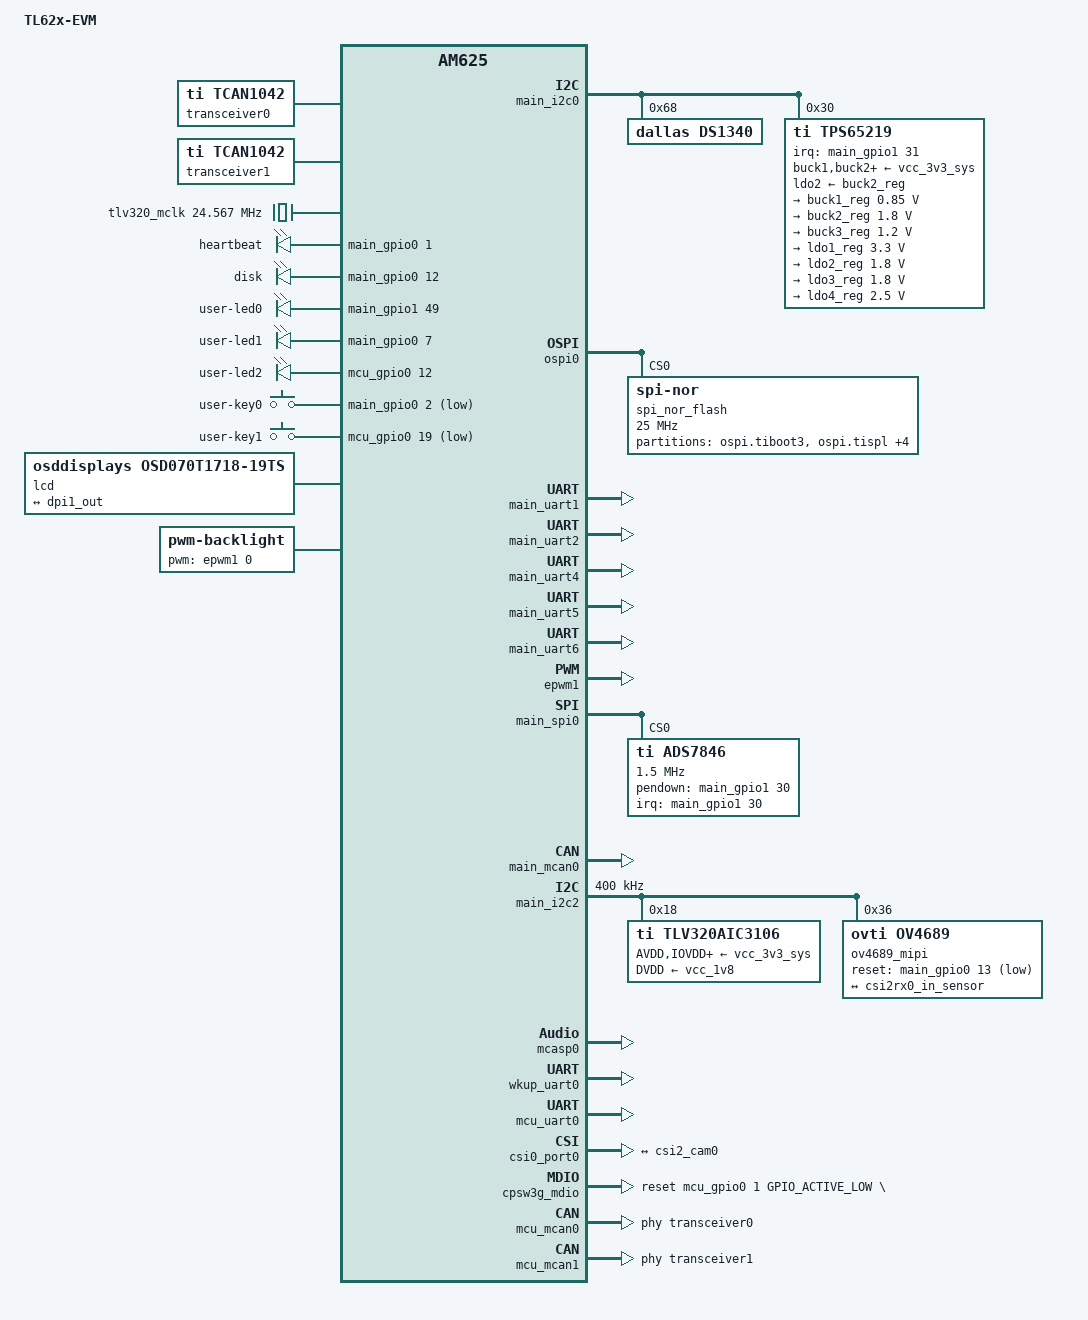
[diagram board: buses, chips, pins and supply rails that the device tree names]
// SPDX-License-Identifier: GPL-2.0
/*
 * AM625 SK: https://www.ti.com/lit/zip/sprr448
 *
 * Copyright (C) 2021-2022 Texas Instruments Incorporated - https://www.ti.com/
 */

/dts-v1/;

#include <dt-bindings/leds/common.h>
#include <dt-bindings/gpio/gpio.h>
#include <dt-bindings/input/input.h>
#include <dt-bindings/net/ti-dp83867.h>
#include "k3-am625.dtsi"
#include "k3-am62x-sk-common.dtsi"

/ {
	compatible =  "ti,am625-sk", "ti,am625";
	model = "TL62x-EVM";

	aliases {
		rtc0 = &ds1340;
		rtc1 = &wkup_rtc0;
		serial3 = &main_uart1;
		serial4 = &main_uart2;
		serial5 = &main_uart4;
		serial6 = &main_uart5;
		serial7 = &main_uart6;
		serial8 = &mcu_uart0;
		serial9 = &wkup_uart0;
	};

	transceiver0: can-phy0 {
		compatible = "ti,tcan1042";
		#phy-cells = <0>;
		max-bitrate = <5000000>;
	};

	transceiver1: can-phy1 {
		compatible = "ti,tcan1042";
		#phy-cells = <0>;
		max-bitrate = <5000000>;
	};

	opp-table {
		/* Add 1.4GHz OPP for am625-sk board. Requires VDD_CORE to be at 0.85V */
		opp-1400000000 {
			opp-hz = /bits/ 64 <1400000000>;
			opp-supported-hw = <0x01 0x0004>;
			clock-latency-ns = <6000000>;
		};
	};

	/delete-node/ tlv320_mclk;
	tlv320_mclk: clk-0 {
		#clock-cells = <0>;
		compatible = "fixed-clock";
		clock-frequency = <24567000>;
	};

	/delete-node/ leds;
        leds {
                compatible = "gpio-leds";
                pinctrl-names = "default";
                pinctrl-0 = <&main_leds_pins_default &mcu_leds_pins_default>;

                som_led0 {
                        label = "heartbeat";
                        gpios = <&main_gpio0 1 GPIO_ACTIVE_HIGH>;
                        linux,default-trigger = "heartbeat";
                        function = LED_FUNCTION_HEARTBEAT;
                        default-state = "off";
                };

                som_led1 {
                        label = "disk";
                        gpios = <&main_gpio0 12 GPIO_ACTIVE_HIGH>;
                        linux,default-trigger = "mmc0";
                        function = LED_FUNCTION_DISK;
                        default-state = "off";
                };

                user_led0 {
                        label = "user-led0";
                        gpios = <&main_gpio1 49 GPIO_ACTIVE_HIGH>;
                        linux,default-trigger = "default-on";
                        function = LED_FUNCTION_STATUS;
                        default-state = "off";
                };

                user_led1 {
                        label = "user-led1";
                        gpios = <&main_gpio0 7 GPIO_ACTIVE_HIGH>;
                        linux,default-trigger = "default-on";
                        function = LED_FUNCTION_STATUS;
                        default-state = "off";
                };

                user_led2 {
                        label = "user-led2";
                        gpios = <&mcu_gpio0 12 GPIO_ACTIVE_HIGH>;
                        linux,default-trigger = "default-on";
                        function = LED_FUNCTION_STATUS;
                        default-state = "off";
                };
        };

        gpio-keys {
                compatible = "gpio-keys";
                autorepeat;
                pinctrl-names = "default";
                pinctrl-0 = <&main_keys_pins_default &mcu_keys_pins_default>;

                user_key@0 {
                        label = "user-key0";
                        linux,code = <KEY_PROG1>;
                        gpios = <&main_gpio0 2 GPIO_ACTIVE_LOW>;
                        debounce-interval = <0>;
                };

                user_key@1 {
                        label = "user-key1";
                        linux,code = <KEY_PROG2>;
                        gpios = <&mcu_gpio0 19 GPIO_ACTIVE_LOW>;
                        debounce-interval = <0>;
                };
        };

        lcd0: display {
                compatible = "osddisplays,osd070t1718-19ts", "panel-dpi";

                label = "lcd";

                port {
                        lcd_in: endpoint {
                                remote-endpoint = <&dpi1_out>;
                        };
                };
        };

        backlight {
                compatible = "pwm-backlight";
                pinctrl-names = "default";
                pinctrl-0 = <&main_ehrpwm1_pins_default>;

                pwms = <&epwm1 0 50000 0>;

                brightness-levels = <0 10 50 100 150 200 220 240 255>;
                default-brightness-level = <8>;
        };

        codec_audio:sound-tlv320aic3106 {
                compatible = "simple-audio-card";
                simple-audio-card,name = "AM62x-SKEVM";
                simple-audio-card,widgets =
                        "Line", "Line In Jack",
                        "Line", "Line Out Jack";
                simple-audio-card,routing =
                        "LINE1L", "Line In Jack",
                        "LINE1R", "Line In Jack",
                        "Line Out Jack", "LLOUT",
                        "Line Out Jack", "RLOUT";
                simple-audio-card,format = "dsp_b";
                simple-audio-card,bitclock-master = <&sound_master>;
                simple-audio-card,frame-master = <&sound_master>;
                simple-audio-card,bitclock-inversion;

                simple-audio-card,cpu {
                        sound-dai = <&mcasp0>;
                };

                sound_master: simple-audio-card,codec {
                        sound-dai = <&tlv320aic3106>;
                        clocks = <&tlv320_mclk>;
                };
        };

        clk_ov4689_fixed: ov4689-xclk {
                compatible = "fixed-clock";
                #clock-cells = <0>;
                clock-frequency = <24000000>;
        };
};

&mcu_pmx0 {
	pinctrl-names = "default";
	pinctrl-0 = <&mcu_uart0_control_pins_default &mcu_fan_pins_default &mcu_phy_reset_pins_default>;

	mcu_leds_pins_default: mcu_leds_pins_default {
		pinctrl-single,pins = <
			AM62X_MCU_IOPAD(0x0030, PIN_OUTPUT, 7) /* (A4) WKUP_UART0_RTSn.MCU_GPIO0_12 */
		>;
	};

	mcu_keys_pins_default: mcu_keys_pins_default {
		pinctrl-single,pins = <
			AM62X_MCU_IOPAD(0x004c, PIN_INPUT, 7) /* (B9) WKUP_I2C0_SCL.MCU_GPIO0_19 */
		>;
	};

	mcu_uart0_pins_default: mcu_uart0_pins_default {
		pinctrl-single,pins = <
			AM62X_MCU_IOPAD(0x0014, PIN_INPUT, 0) /* (B5) MCU_UART0_RXD */
			AM62X_MCU_IOPAD(0x0018, PIN_OUTPUT, 0) /* (A5) MCU_UART0_TXD */
		>;
	};

	mcu_uart0_control_pins_default: mcu-uart0-control-pins-default {
		pinctrl-single,pins = <
			AM62X_MCU_IOPAD(0x020, PIN_OUTPUT, 7) /* (B6) MCU_UART0_RTSn.MCU_GPIO0_8 */
			AM62X_MCU_IOPAD(0x01c, PIN_OUTPUT, 7) /* (A6)MCU_UART0_CTSn.MCU_GPIO0_7 */
		>;
	};

	mcu_fan_pins_default: mcu_fan_pins_default {
		pinctrl-single,pins = <
			/* set the pull-up, the fan is turned on by default */
			AM62X_MCU_IOPAD(0x008, PIN_OUTPUT_PULLUP, 7) /* (A7) MCU_SPI0_CLK.MCU_GPIO0_2 (fan) */
		>;
	};

	mcu_phy_reset_pins_default: mcu_phy_reset_pins_default {
		pinctrl-single,pins = <
			AM62X_MCU_IOPAD(0x0004, PIN_INPUT_PULLUP, 7) /* (B8) MCU_SPI0_CS1.MCU_GPIO0_1 */
			AM62X_MCU_IOPAD(0x000c, PIN_INPUT_PULLUP, 7) /* (D9) MCU_SPI0_D0.MCU_GPIO0_3 */
		>;
	};
};

&main_pmx0 {
	pinctrl-names = "default";
	pinctrl-0 = <&main_watchdog_pins_default &main_4g_reset_pins_default &main_isolate_pins_default>;

	main_watchdog_pins_default: main_watchdog_pins_default {
		pinctrl-single,pins = <
			AM62X_IOPAD(0x00ac, PIN_OUTPUT, 7) /* (L21) GPMC0_CSn1.GPIO0_42 */
		>;
	};

	main_4g_reset_pins_default: main_4g_reset_pins_default {
		pinctrl-single,pins = <
			AM62X_IOPAD(0x0038, PIN_OUTPUT, 7) /* (E24) OSPI0_CSn3.GPIO0_14 */
		>;
	};

	main_isolate_pins_default: main_isolate_pins_default {
		pinctrl-single,pins = <
			AM62X_IOPAD(0x0090, PIN_INPUT, 7) /* (M24) GPMC0_BE0n_CLE.GPIO0_35 */
			AM62X_IOPAD(0x0094, PIN_INPUT, 7) /* (N20) GPMC0_BE1n.GPIO0_36 */
			AM62X_IOPAD(0x0098, PIN_INPUT, 7) /* (U23) GPMC0_WAIT0.GPIO0_37 */
			AM62X_IOPAD(0x00a4, PIN_INPUT, 7) /* (M22) GPMC0_DIR.GPIO0_40 */
			AM62X_IOPAD(0x00a0, PIN_OUTPUT, 7) /* (K25) GPMC0_WPn.GPIO0_39 */
			AM62X_IOPAD(0x0110, PIN_OUTPUT, 7) /* (C25) MMC2_DAT1.GPIO0_67 */
			AM62X_IOPAD(0x0114, PIN_OUTPUT, 7) /* (B24) MMC2_DAT0.GPIO0_68 */
			AM62X_IOPAD(0x01ac, PIN_OUTPUT, 7) /* (E19) MCASP0_AFSR.GPIO1_13 */
		>;
	};

        main_ov4689_reset_pins_default: main_ov4689_reset_pins_default {
                pinctrl-single,pins = <
                        AM62X_IOPAD(0x0034, PIN_OUTPUT_PULLUP, 7) /* (H21) OSPI0_CSn2.GPIO0_13 */
                >;
        };

	main_leds_pins_default: main_leds_pins_default {
		pinctrl-single,pins = <
			AM62X_IOPAD(0x0004, PIN_OUTPUT, 7) /* (G25) OSPI0_LBCLKO.GPIO0_1 */
			AM62X_IOPAD(0x001c, PIN_OUTPUT, 7) /* (J23) OSPI0_D4.GPIO0_7 */
			AM62X_IOPAD(0x0030, PIN_OUTPUT, 7) /* (G21) OSPI0_CSn1.GPIO0_12 */
			AM62X_IOPAD(0x0244, PIN_OUTPUT, 7) /* (C17) MMC1_SDWP.GPIO1_49 */
		>;
	};

	main_keys_pins_default: main_keys_pins_default {
		pinctrl-single,pins = <
			AM62X_IOPAD(0x0008, PIN_INPUT, 7) /* (J24) OSPI0_DQS.GPIO0_2 */
		>;
	};

        main_uart1_pins_default: main-uart1-pins-default {
                pinctrl-single,pins = <
                        AM62X_IOPAD(0x01e8, PIN_INPUT, 1) /* (B17) I2C1_SCL.UART1_RXD */
                        AM62X_IOPAD(0x01ec, PIN_OUTPUT, 1) /* (A17) I2C1_SDA.UART1_TXD */
                >;
        };

        main_uart2_pins_default: main-uart2-pins-default {
                pinctrl-single,pins = <
                        AM62X_IOPAD(0x01d0, PIN_INPUT, 3) /* (A15) UART0_CTSn.UART2_RXD */
                        AM62X_IOPAD(0x01d4, PIN_OUTPUT, 3) /* (B15) UART0_RTSn.UART2_TXD */
                >;
        };

        main_uart4_pins_default: main-uart4-pins-default {
                pinctrl-single,pins = <
                        AM62X_IOPAD(0x0124, PIN_INPUT, 3) /* (A23) MMC2_SDCD.UART4_RXD */
                        AM62X_IOPAD(0x0128, PIN_OUTPUT, 3) /* (B23) MMC2_SDWP.UART4_TXD */
                >;
        };

        main_uart5_pins_default: main-uart5-pins-default {
                pinctrl-single,pins = <
                        AM62X_IOPAD(0x0108, PIN_INPUT, 3) /* (D24) MMC2_DAT3.UART5_RXD */
                        AM62X_IOPAD(0x010c, PIN_OUTPUT, 3) /* (E23) MMC2_DAT2.UART5_TXD */
                >;
        };

        main_uart6_pins_default: main-uart6-pins-default {
                pinctrl-single,pins = <
                        AM62X_IOPAD(0x0118, PIN_INPUT, 3) /* (D25) MMC2_CLK.UART6_RXD */
                        AM62X_IOPAD(0x0120, PIN_OUTPUT, 3) /* (C24) MMC2_CMD.UART6_TXD */
                >;
        };

        main_ehrpwm1_pins_default: main_ehrpwm1_pins_default {
                pinctrl-single,pins = <
                        AM62X_IOPAD(0x019c, PIN_OUTPUT, 6) /* (B18) MCASP0_AXR1.EHRPWM1_A */
                >;
        };
        main_spi0_clk_data_pins_default: main_spi0_clk_data_pins_default {
                pinctrl-single,pins = <
                        AM62X_IOPAD(0x01bc, PIN_OUTPUT, 0) /* (A14) SPI0_CLK */
                        AM62X_IOPAD(0x01c0, PIN_INPUT, 0) /* (B13) SPI0_D0 */
                        AM62X_IOPAD(0x01c4, PIN_INPUT, 0) /* (B14) SPI0_D1 */
                >;
        };

        main_spi0_cs0_pins_default: main_spi0_cs0_pins_default {
                pinctrl-single,pins = <
                        AM62X_IOPAD(0x01b4, PIN_OUTPUT_PULLUP, 0) /* (A13) SPI0_CS0 */
                >;
        };

        main_ads7846_pins_default: main_ads7846_pins_default {
                pinctrl-single,pins = <
                        AM62X_IOPAD(0x01f0, PIN_INPUT_PULLUP, 7) /* (A18) EXT_REFCLK1.GPIO1_30 */
                >;
        };

	main_usb0_pins_default: main_usb0_pins_default {
		pinctrl-single,pins = <
			AM62X_IOPAD(0x0254, PIN_OUTPUT, 0) /* (C20) USB0_DRVVBUS */
		>;
	};

	main_mcan0_pins_default: main_mcan0_pins_default {
		pinctrl-single,pins = <
			AM62X_IOPAD(0x01dc, PIN_INPUT, 0) /* (E15) MCAN0_RX */
			AM62X_IOPAD(0x01d8, PIN_OUTPUT, 0) /* (C15) MCAN0_TX */
		>;
	};

        main_mcasp0_pins_default: main-mcasp0-pins-default {
                pinctrl-single,pins = <
                        AM62X_IOPAD(0x01B0, PIN_OUTPUT, 0) /* (A20) MCASP0_ACLKR.MCASP0_ACLKR */
                        AM62X_IOPAD(0x01A4, PIN_INPUT, 0) /* (B20) MCASP0_ACLKX.MCASP0_ACLKX */
                        AM62X_IOPAD(0x01A8, PIN_INPUT, 0) /* (D20) MCASP0_AFSX.MCASP0_AFSX */
                        AM62X_IOPAD(0x0198, PIN_OUTPUT, 0) /* (A19) MCASP0_AXR2.MCASP0_AXR2 */
                        AM62X_IOPAD(0x0194, PIN_INPUT, 0) /* (B19) MCASP0_AXR3.MCASP0_AXR3 */
                >;
        };

        main_pmic_intr_pins_default: main_pmic_intr_pins_default {
                pinctrl-single,pins = <
                        AM62X_IOPAD(0x01f4, PIN_INPUT_PULLUP, 7) /* (D16) EXTINTn.GPIO1_31 */
                >;
        };
};

&main_i2c0 {
	ds1340: rtc@68 {
		compatible = "dallas,ds1340";
		reg = <0x68>;
		trickle-resistor-ohms = <250>;
	};

        tps65219: pmic@30 {
                compatible = "ti,tps65219";
                reg = <0x30>;

                buck1-supply = <&vcc_3v3_sys>;
                buck2-supply = <&vcc_3v3_sys>;
                buck3-supply = <&vcc_3v3_sys>;
                ldo1-supply = <&vcc_3v3_sys>;
                ldo2-supply = <&buck2_reg>;
                ldo3-supply = <&vcc_3v3_sys>;
                ldo4-supply = <&vcc_3v3_sys>;

                pinctrl-0 = <&main_pmic_intr_pins_default>;

                interrupt-parent = <&main_gpio1>;
                interrupts = <31 0>;            /* gpio1_31 */
                interrupt-controller;
                #interrupt-cells = <1>;

                /* turn off the temperature warning function */
                sensor-warm-mask;

                regulators {
                        buck1_reg: buck1 {
                                regulator-name = "VDD_0V85_CORE";
                                regulator-min-microvolt = <850000>;
                                regulator-max-microvolt = <850000>;
                                regulator-boot-on;
                                regulator-always-on;
                        };

                        buck2_reg: buck2 {
                                regulator-name = "VDD_1V8_MAIN";
                                regulator-min-microvolt = <1800000>;
                                regulator-max-microvolt = <1800000>;
                                regulator-boot-on;
                                regulator-always-on;
                        };

                        buck3_reg: buck3 {
                                regulator-name = "VDD_1V2_MAIN";
                                regulator-min-microvolt = <1200000>;
                                regulator-max-microvolt = <1200000>;
                                regulator-boot-on;
                                regulator-always-on;
                        };

                        ldo1_reg: ldo1 {
                                regulator-name = "VDD_3V3_LDO1";
                                regulator-min-microvolt = <3300000>;
                                regulator-max-microvolt = <3300000>;
                        };

                        ldo2_reg: ldo2 {
                                regulator-name = "VDD_1V8_LDO2";
                                regulator-min-microvolt = <1800000>;
                                regulator-max-microvolt = <1800000>;
                                regulator-boot-on;
                                regulator-always-on;
                        };

                        ldo3_reg: ldo3 {
                                regulator-name = "VDD_1V8_LDO3";
                                regulator-min-microvolt = <1800000>;
                                regulator-max-microvolt = <1800000>;
                                regulator-boot-on;
                                regulator-always-on;
                        };

                        ldo4_reg: ldo4 {
                                regulator-name = "VDD_2V5_LDO4";
                                regulator-min-microvolt = <2500000>;
                                regulator-max-microvolt = <2500000>;
                                regulator-boot-on;
                                regulator-always-on;
                        };
                };
        };
};

&main_i2c1 {
};

&ospi0 {
	spi_nor_flash: flash@0 {
		compatible = "jedec,spi-nor";
		reg = <0x0>;
		spi-tx-bus-width = <4>;
		spi-rx-bus-width = <4>;
		spi-max-frequency = <25000000>;
		cdns,tshsl-ns = <60>;
		cdns,tsd2d-ns = <60>;
		cdns,tchsh-ns = <60>;
		cdns,tslch-ns = <60>;
		cdns,read-delay = <4>;
		cdns,phy-mode;

		partitions {
			compatible = "fixed-partitions";
			#address-cells = <1>;
			#size-cells = <1>;

			partition@0 {
				label = "ospi.tiboot3";
				reg = <0x0 0x80000>;
			};

			partition@80000 {
				label = "ospi.tispl";
				reg = <0x80000 0x100000>;
			};

			partition@180000 {
				label = "ospi.u-boot";
				reg = <0x180000 0x200000>;
			};

			partition@380000 {
				label = "ospi.env";
				reg = <0x380000 0x40000>;
			};

			partition@3c0000 {
				label = "ospi.env.backup";
				reg = <0x3c0000 0x40000>;
			};

			partition@400000 {
				label = "ospi.rootfs";
				reg = <0x400000 0x0>;
			};
		};
	};
};

&main_uart1 {
	status = "okay";
	pinctrl-names = "default";
	pinctrl-0 = <&main_uart1_pins_default>;
};

&main_uart2 {
        status = "okay";
        pinctrl-names = "default";
        pinctrl-0 = <&main_uart2_pins_default>;
};

&main_uart4 {
        status = "okay";
        pinctrl-names = "default";
        pinctrl-0 = <&main_uart4_pins_default>;
};

&main_uart5 {
        status = "okay";
        pinctrl-names = "default";
        pinctrl-0 = <&main_uart5_pins_default>;
};

&main_uart6 {
        status = "okay";
        pinctrl-names = "default";
        pinctrl-0 = <&main_uart6_pins_default>;
};

&lcd0 {
        panel-timing {
                clock-frequency = <33000000>;
                hactive = <800>;
                vactive = <480>;
                hfront-porch = <210>;
                hback-porch = <16>;
                hsync-len = <30>;
                vback-porch = <10>;
                vfront-porch = <22>;
                vsync-len = <13>;
                hsync-active = <0>;
                vsync-active = <0>;
                de-active = <1>;
                pixelclk-active = <1>;
        };
};

&dss_ports {
        #address-cells = <1>;
        #size-cells = <0>;

        /* VP2: DPI Output */
        port@1 {
                reg = <1>;

                dpi1_out: endpoint {
                        remote-endpoint = <&lcd_in>;
                };
        };
};

&epwm1 {
        status = "okay";
};

&main_spi0 {
        status = "okay";
        pinctrl-names = "default";
        pinctrl-0 = <&main_spi0_clk_data_pins_default &main_spi0_cs0_pins_default>;
        ti,pindir-d0-in-d1-out;

        ads7846@0 {
                compatible = "ti,ads7846";
                pinctrl-names = "default";
                pinctrl-0 = <&main_ads7846_pins_default>;

                reg = <0>;                      /* CS0 */
                spi-max-frequency = <1500000>;

                interrupt-parent = <&main_gpio1>;
                interrupts = <30 0>;            /* gpio1_30 */
                pendown-gpio = <&main_gpio1 30 0>;

                ti,x-min = /bits/ 16 <0x0>;
                ti,x-max = /bits/ 16 <0x0fff>;
                ti,y-min = /bits/ 16 <0x0>;
                ti,y-max = /bits/ 16 <0x0fff>;

                ti,x-plate-ohms = /bits/ 16 <625>;
                ti,pressure-max = /bits/ 16 <4095>;

                ti,debounce-max = /bits/ 16 <10>;
                ti,debounce-tol = /bits/ 16 <30>;
                ti,debounce-rep = /bits/ 16 <1>;

                ti,settle-delay-usec = /bits/ 16 <150>;
                ti,keep-vref-on = <1>;

                linux,wakeup;
        };
};

&usb0 {
        pinctrl-names = "default";
        pinctrl-0 = <&main_usb0_pins_default>;
        #address-cells = <1>;
        #size-cells = <0>;
        usb-role-switch;
        role-switch-default-mode = "host";
};

&main_mcan0 {
        status = "okay";
        pinctrl-names = "default";
        pinctrl-0 = <&main_mcan0_pins_default>;
};

&main_i2c2 {
	status = "okay";
        pinctrl-names = "default";
        pinctrl-0 = <&main_i2c2_pins_default>;
        clock-frequency = <400000>;

        tlv320aic3106: audio-codec@18 {
                #sound-dai-cells = <0>;
                compatible = "ti,tlv320aic3106";
                reg = <0x18>;

                /* Regulators */
                AVDD-supply = <&vcc_3v3_sys>;
                IOVDD-supply = <&vcc_3v3_sys>;
                DRVDD-supply = <&vcc_3v3_sys>;
                DVDD-supply = <&vcc_1v8>;
        };

        ov4689_mipi: ov4689_mipi@36 {
                status = "okay";
                compatible = "ovti,ov4689";
                pinctrl-names = "default";
                pinctrl-0 = <&main_ov4689_reset_pins_default>;

                reg = <0x36>;
                clocks = <&clk_ov4689_fixed>;
                clock-names = "xvclk";

                reset-gpios = <&main_gpio0 13 GPIO_ACTIVE_LOW>;

                orientation = <2>;
                rotation = <0>;

                assigned-clocks = <&clk_ov4689_fixed>;
                assigned-clock-rates = <24000000>;
                csi_id = <0>;
                mclk = <24000000>;
                mclk_source = <0>;

                port {
                        csi2_cam0: endpoint {
                                remote-endpoint = <&csi2rx0_in_sensor>;
                                clock-lanes = <0>;
                                data-lanes = <1 2 3 4>;
                                link-frequencies = /bits/ 64 <500000000>;
                        };
                };
        };
};

&mcasp0 {
        status = "okay";
        #sound-dai-cells = <0>;

        pinctrl-names = "default";
        pinctrl-0 = <&main_mcasp0_pins_default>;

        op-mode = <0>;          /* MCASP_IIS_MODE */
        tdm-slots = <2>;

        serial-dir = <  /* 0: INACTIVE, 1: TX, 2: RX */
               0 0 1 2
               0 0 0 0
               0 0 0 0
               0 0 0 0
        >;
        tx-num-evt = <32>;
        rx-num-evt = <32>;
};

&mcu_pmx0 {
	wkup_uart0_pins_default: wkup-uart0-pins-default {
		pinctrl-single,pins = <
			AM62X_MCU_IOPAD(0x0024, PIN_INPUT, 0) /* (B4) WKUP_UART0_RXD */
			AM62X_MCU_IOPAD(0x0028, PIN_OUTPUT, 0) /* (C5) WKUP_UART0_TXD */
		>;
	};
};

&wkup_uart0 {
	status = "okay";
	pinctrl-names = "default";
	pinctrl-0 = <&wkup_uart0_pins_default>;
};

&mcu_uart0 {
	status = "okay";
	pinctrl-names = "default";
	pinctrl-0 = <&mcu_uart0_pins_default>;
};

&csi0_port0 {
        status = "okay";

        csi2rx0_in_sensor: endpoint {
                remote-endpoint = <&csi2_cam0>;
                bus-type = <4>; /* CSI2 DPHY. */
                clock-lanes = <0>;
                data-lanes = <1 2 3 4>;
        };
};

&cpsw3g_mdio {
        reset-gpios = <&mcu_gpio0 1 GPIO_ACTIVE_LOW \
                        &mcu_gpio0 3 GPIO_ACTIVE_LOW>;

        reset-delay-us = <100>; /* set reset hold time to 100us */
};

&pruss {
	status = "disabled";
};

&main_rti1 {
        status = "disabled";
};

&main_rti2 {
        status = "disabled";
};

&main_rti3 {
        status = "disabled";
};

&main_rti15 {
        status = "disabled";
};

&mcu_pmx0 {
	mcu_mcan0_pins_default: mcu_mcan0_pins_default {
		pinctrl-single,pins = <
			AM62X_MCU_IOPAD(0x0038, PIN_INPUT, 0) /* (B3) MCU_MCAN0_RX */
			AM62X_MCU_IOPAD(0x0034, PIN_OUTPUT, 0) /* (D6) MCU_MCAN0_TX */
		>;
	};
	mcu_mcan1_pins_default: mcu_mcan1_pins_default {
		pinctrl-single,pins = <
			AM62X_MCU_IOPAD(0x0040, PIN_INPUT, 0) /* (D4) MCU_MCAN1_RX */
			AM62X_MCU_IOPAD(0x003c, PIN_OUTPUT, 0) /* (E5) MCU_MCAN1_TX */
		>;
	};
};

&mcu_mcan0 {
	status = "okay";
	pinctrl-names = "default";
	pinctrl-0 = <&mcu_mcan0_pins_default>;
	phys = <&transceiver0>;
};

&mcu_mcan1 {
	status = "okay";
	pinctrl-names = "default";
	pinctrl-0 = <&mcu_mcan1_pins_default>;
	phys = <&transceiver1>;
};
